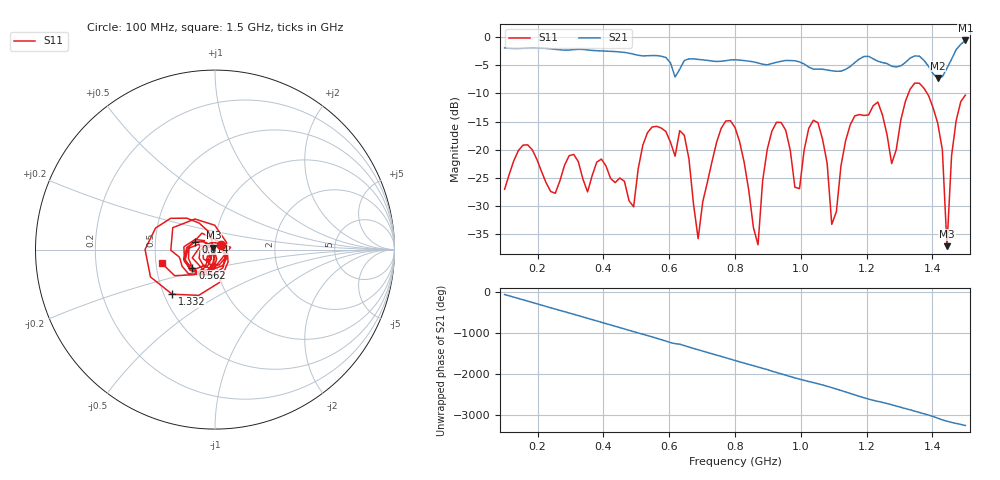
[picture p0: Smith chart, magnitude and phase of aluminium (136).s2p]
! NanoVNA-App
! Date: 2025-09-25 14:56:20
! Start: 100MHz Stop: 1,5GHz Points: 101
! S-Parameter data: F S11 S21 S12 S22
# Hz S RI R 50
!  Frequency  S11_Real  S11_Imag  S21_Real  S21_Imag  S12_Real  S12_Imag  S22_Real  S22_Imag
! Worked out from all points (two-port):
!   101 points, 100 MHz to 1.5 GHz, reference 50 ohm
!   highest |S21| = -0.61 dB at 1.5 GHz (marker M1); lowest = -7.3 dB at 1.416 GHz (marker M2)
!   |S21| within 3 dB of the highest: start of sweep to 588.7 MHz; 1.461 GHz to end of sweep (the widest 2 of 4)
!   lowest |S11| = -37.1 dB at 1.444 GHz (marker M3), VSWR 1.03, Z = 49.1 + j1.07 ohm
!   |S11| at or under -10 dB: start of sweep to 1.327 GHz; 1.384 GHz to end of sweep
!   S12 and S22 are empty: the file has one direction only
!   S11 on the Smith chart (normalised r, x): 100 MHz: 1.07, +0.06; 562 MHz: 0.76, -0.16; 814 MHz: 0.80, +0.07; 1.332 GHz: 0.55, -0.31; 1.5 GHz: 0.54, -0.09
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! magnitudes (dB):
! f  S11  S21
! 100 MHz  -27.0  -1.9
! 338 MHz  -25.2  -2.2
! 492 MHz  -30.1  -3.0
! 562 MHz  -15.8  -3.3
! 576 MHz  -16.2  -3.4
! 646 MHz  -17.4  -4.2
! 688 MHz  -35.8  -4.0
! 800 MHz  -16.0  -4.0
! 814 MHz  -18.5  -4.1
! 870 MHz  -36.8  -4.6
! 912 MHz  -16.7  -4.7
! 996 MHz  -26.9  -4.4
! 1.038 GHz  -14.8  -5.7
! 1.094 GHz  -33.2  -6.0
! 1.164 GHz  -14.0  -4.5
! 1.234 GHz  -11.5  -4.3
! 1.276 GHz  -22.4  -5.2
! 1.332 GHz  -9.3  -3.7
! 1.416 GHz  -15.3  -7.3
! 1.444 GHz  -37.1  -5.5
! 1.458 GHz  -21.1  -3.9
! 1.5 GHz  -10.3  -0.6
